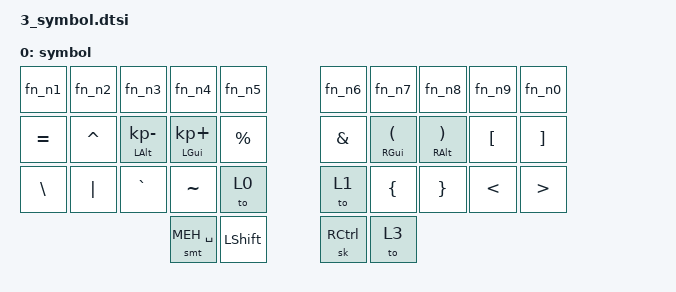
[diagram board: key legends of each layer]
/*
 * Numbers and Symbols Layer
*/

// Layers
#define ENG    0
#define HEB    1
#define SYM    2
#define KBNV   3
#define MSNV   4	
#define BLT    5

/ {
  keymap {
    compatible = "zmk,keymap";

    symbol {
      // label = "SYM";
      bindings = <
    &fn_n1          &fn_n2          &fn_n3            &fn_n4            &fn_n5        &fn_n6          &fn_n7        &fn_n8          &fn_n9      &fn_n0
    &kp EQUAL       &kp CARET       &hm LALT KP_MINUS &hm LGUI KP_PLUS  &kp PRCNT     &kp AMPERSAND   &hm RGUI LPAR &hm RALT RPAR   &kp LBKT    &kp RBKT
    &kp BACKSLASH   &kp PIPE        &kp GRAVE         &kp TILDE         &to 0         &to 1           &kp LBRC      &kp RBRC        &kp LT      &kp GT
                                    &smt MEH SPACE          &kp LSHIFT                &sk RCTRL               &to 3
      >;
    };
  };
};

/*
*╭───────────────┬───────────────┬───────────────┬───────────────┬───────────────╮  ╭───────────────┬───────────────┬───────────────┬───────────────┬───────────────╮
* 0               1               2               3               4                  5               6               7               8               9
* t: 1            t: 2            t: 3            t: 4            t: 5               t: 6            t: 7            t: 8            t: 9            t: 0
* h: F1           h: F2           h: F3           h: F4           h: F5              h: F6           h: F7           h: F8           h: F9           h: F10
* s:              s:              s:              s:              s:                 s:              s:              s:              s:              s:
*├───────────────┼───────────────┼───────────────┼───────────────┼───────────────┤  ├───────────────┼───────────────┼───────────────┼───────────────┼───────────────┤
* 10              11              12              13              14                 15              16              17              18              19
* t: =            t: ^            t: -            t: +            t: %               t: &            t: (            t: )            t: [            t: ]
* h:              h:              h: LALT         h: LGUI         h:                 h:              h: RGUI         h: RALT         h:              h:
* s:              s:              s:              s:              s:                 s:              s:              s:              s:              s:
*├───────────────├───────────────┼───────────────┼───────────────┼───────────────┤  ├───────────────┼───────────────┼───────────────┼───────────────┼───────────────┤
* 20              21              22              23              24                 25              26              27              28              29
* t: \            t: |            t: `            t: ~            t: ENGLISH         t: HEBREW       t: {            t: }            t: <            t: >
* h:              h:              h:              h:              h:                 h:              h:              h:              h:              h:
* s:              s:              s:              s:              s:                 s:              s:              s:              s:              s:
*╰───────────────┴───────────────┼───────────────┴───────┬───────┴───────────────┤  ├───────────────┴───────┬───────┴───────────────┼───────────────┴───────────────┤
*                                 30                      31                         32                      33
*                                 t: SPACE                t: LSHIFT                  t: RCTRL                t: KEYBOARD NAV
*                                 h: MEH                  h:                         h:                      h:
*                                 s:                      s:                         s:                      s:
*                                ╰───────────────────────┴───────────────────────╯  ╰───────────────────────┴───────────────────────╯
*/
